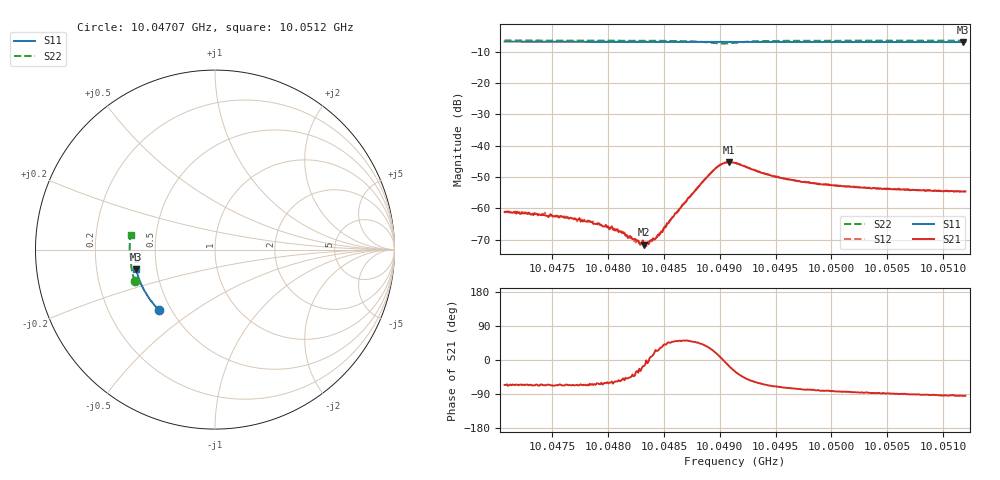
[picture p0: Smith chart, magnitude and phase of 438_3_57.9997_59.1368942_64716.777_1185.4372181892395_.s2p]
#  HZ  S  RI  R  50.00
! Rohde & Schwarz Vector Network Analyzer
! Rohde-Schwarz,ZNB20-2Port,1311601062101988,3.16
! Created: UTC 3/21/2024, 1:09:57 AM
! freq[Hz]  re:S11  im:S11  re:S21  im:S21  re:S12  im:S12  re:S22  im:S22
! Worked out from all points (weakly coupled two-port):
!   401 points, 10.04707 GHz to 10.0512 GHz, reference 50 ohm
!   highest |S21| = -45.22 dB at 10.04908 GHz (marker M1); lowest = -71.5 dB at 10.04832 GHz (marker M2)
!   lowest |S11| = -6.9 dB at 10.05118 GHz (marker M3), VSWR 2.65, Z = 19.1 - j5.15 ohm
!   |S11| at or under -10 dB: nowhere
!   |S22| runs from -7.4 to -6.4 dB; largest |S21 - S12| = 0.00041
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1.0047075e10  -0.3096 -0.3392  0.000359 -0.0008  0.00044 -0.000742  -0.4465 -0.1757
1.0047436e10  -0.3263 -0.3221  0.000309 -0.000713  0.000402 -0.000753  -0.4542 -0.1523
1.0047487e10  -0.3286 -0.3196  0.000322 -0.000742  0.000357 -0.000682  -0.4552 -0.149
1.0047765e10  -0.3407 -0.3059  0.000263 -0.000584  0.000311 -0.000588  -0.4602 -0.1302
1.0047838e10  -0.3436 -0.3022  0.000286 -0.000551  0.000281 -0.000542  -0.4612 -0.1252
1.0048044e10  -0.3521 -0.2915  0.000215 -0.000407  0.000262 -0.000403  -0.4641 -0.1106
1.0048126e10  -0.3555 -0.2875  0.000251 -0.000316  0.000267 -0.000332  -0.4653 -0.1046
1.0048229e10  -0.3596 -0.2819  0.000236 -0.00022  0.000255 -0.000165  -0.4662 -0.0969
1.0048322e10  -0.3632 -0.2769  0.000255 -7.31e-05  0.000284 -5.66e-05  -0.467 -0.0896
1.0048343e10  -0.3641 -0.2759  0.000276 -4.5e-06  0.000249 -7.99e-06  -0.4671 -0.0879
1.0048363e10  -0.3647 -0.2748  0.000268 -1.73e-05  0.000281 -1.68e-06  -0.4671 -0.0863
1.0048456e10  -0.3684 -0.2698  0.000325 0.000173  0.000347 0.000191  -0.4674 -0.0786
1.0048662e10  -0.3759 -0.2582  0.000705 0.000866  0.00063 0.000886  -0.4648 -0.0594
1.004891e10  -0.3841 -0.2444  0.00299 0.00182  0.00289 0.00202  -0.4429 -0.0372
1.0049002e10  -0.387 -0.2393  0.00487 0.000724  0.00485 0.00104  -0.427 -0.0443
1.0049085e10  -0.3896 -0.2348  0.00526 -0.00157  0.00535 -0.00124  -0.4268 -0.0615
1.0049136e10  -0.3913 -0.2321  0.0046 -0.00267  0.00478 -0.00239  -0.4349 -0.0682
1.0049477e10  -0.4021 -0.2124  0.00115 -0.00305  0.00139 -0.003  -0.4694 -0.0452
1.0049827e10  -0.412 -0.1915  0.000489 -0.00248  0.000615 -0.00248  -0.4753 -0.0154
1.0050518e10  -0.4278 -0.1491  7.28e-05 -0.00202  0.000174 -0.00204  -0.4751 0.0345
1.0051178e10  -0.4392 -0.1073  -0.000159 -0.00186  -3.56e-05 -0.00187  -0.4696 0.0788
1.0051198e10  -0.4395 -0.1061  -0.000143 -0.00185  -4.59e-05 -0.00188  -0.4694 0.0802
